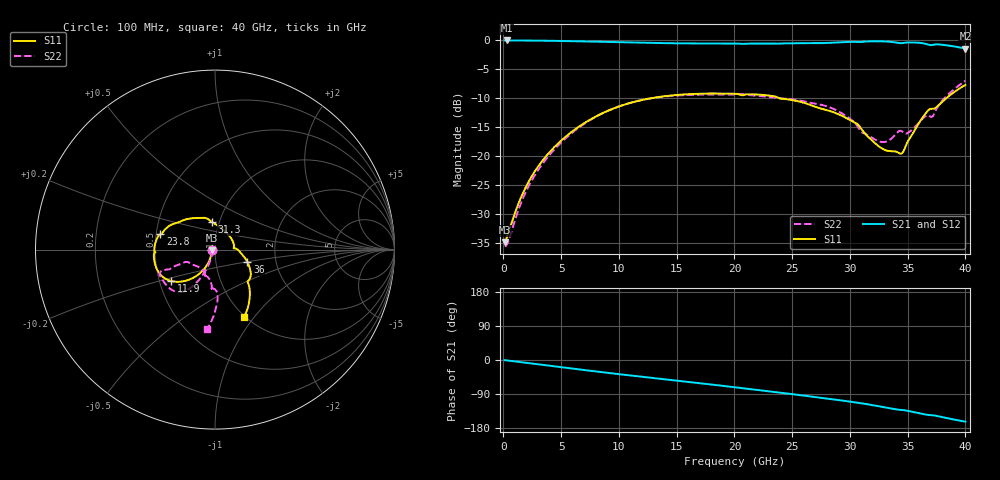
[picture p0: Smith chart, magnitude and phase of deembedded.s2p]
! BV_ts_m2_per0: kisi-fdtd, Sdd (100 Ω), de-embedded with the 2×thru of each side (NZC with the outer ports
! referred to the line impedances 114.5 / 93.9 Ω, sparam.deembed_matched), the via between ideal 100 Ω lines
# Hz S RI R 100
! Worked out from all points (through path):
!   400 points, 100 MHz to 40 GHz, reference 100 ohm
!   highest |S21| = -0.15 dB at 300 MHz (marker M1); lowest = -1.6 dB at 40 GHz (marker M2)
!   group delay of S21, straight-line fit = 10.7 ps
!   lowest |S11| = -34.9 dB at 100 MHz (marker M3), VSWR 1.04, Z = 96.5 - j0.558 ohm
!   |S11| at or under -10 dB: start of sweep to 13.03 GHz; 23.79 GHz to 38.4 GHz (14.61 GHz wide, 47 % of centre)
!   |S22| runs from -35.5 to -7.1 dB; largest |S21 - S12| = 0.00041
!   S11 on the Smith chart (normalised r, x): 100 MHz: 0.97, -0.01; 11.9 GHz: 0.58, -0.22; 23.8 GHz: 0.53, +0.10; 31.3 GHz: 0.92, +0.29; 36 GHz: 1.42, -0.20; 40 GHz: 0.99, -0.89
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1e8  -0.0178 -0.00289  0.9828 -0.0064  0.9829 -0.00655  -0.0166 -0.00169
3e8  -0.0184 -0.00808  0.9828 -0.0196  0.9827 -0.0196  -0.0162 -0.00606
1.6e9  -0.0241 -0.0389  0.9763 -0.1042  0.9764 -0.1042  -0.0193 -0.0363
2.8e9  -0.0343 -0.0674  0.963 -0.1812  0.963 -0.1812  -0.0276 -0.0647
4.6e9  -0.0605 -0.1084  0.9299 -0.293  0.9299 -0.293  -0.0479 -0.1089
6.8e9  -0.1091 -0.1502  0.8695 -0.4197  0.8694 -0.4198  -0.0838 -0.1625
1.19e10  -0.2446 -0.1751  0.676 -0.6515  0.676 -0.6514  -0.1868 -0.2362
1.34e10  -0.2763 -0.1621  0.612 -0.7044  0.612 -0.7044  -0.2154 -0.2351
2.01e10  -0.3404 -0.029  0.2819 -0.8803  0.282 -0.8803  -0.3017 -0.1511
2.38e10  -0.3044 0.0851  0.0732 -0.9194  0.0732 -0.9193  -0.2913 -0.1152
2.67e10  -0.2294 0.1441  -0.1101 -0.9266  -0.11 -0.9267  -0.262 -0.1109
2.92e10  -0.1421 0.1728  -0.2662 -0.9105  -0.2663 -0.9106  -0.2178 -0.0893
3.13e10  -0.0182 0.1546  -0.4161 -0.867  -0.4162 -0.8674  -0.1323 -0.0813
3.26e10  0.0491 0.108  -0.521 -0.8144  -0.5211 -0.814  -0.0883 -0.0988
3.34e10  0.0879 0.0661  -0.5788 -0.7648  -0.5787 -0.7652  -0.0629 -0.1208
3.45e10  0.1046 0.00692  -0.6211 -0.6953  -0.6211 -0.6956  -0.0624 -0.1501
3.5e10  0.1321 -0.00478  -0.6595 -0.6768  -0.6594 -0.677  -0.0427 -0.1509
3.6e10  0.1805 -0.0684  -0.7234 -0.5981  -0.7234 -0.598  -0.0191 -0.1925
3.66e10  0.1987 -0.1252  -0.7433 -0.5366  -0.7432 -0.5366  -0.0221 -0.2211
3.71e10  0.1861 -0.1727  -0.7393 -0.5099  -0.7392 -0.5098  -0.0112 -0.2158
3.81e10  0.1935 -0.2268  -0.7924 -0.4283  -0.7924 -0.4282  0.00976 -0.3067
4e10  0.1628 -0.3728  -0.7967 -0.2474  -0.7971 -0.2474  -0.0429 -0.4406
